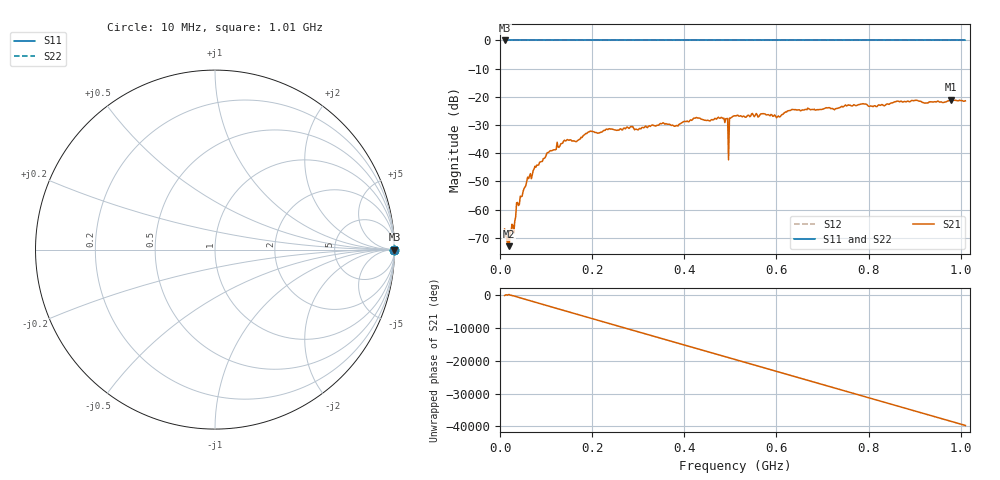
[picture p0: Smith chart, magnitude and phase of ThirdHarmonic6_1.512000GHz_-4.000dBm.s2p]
! 8/16/2025 5:48:28 PM
! C:\ANRITSUVNA\TEMP\TEMP.S2P
! CHANNEL.1
! TR.MEASUREMENT
! RAW.DATA
! RF.CORRECTION.OFF
! AVERAGING.OFF
! IF.BANDWIDTH: 5KHZ
! SWEEPTYPE:  FREQ.SWEEP(Linear)
! Reference Plane Port Info
! PORT:  PORT1  PORT2
! DISTANCE:  0  m  0  m
! TIME:  0  s  0  s
! PHASE.OFFSET:  0  deg.  0  deg.
! LOSS:  0  dB  0  dB
! REF.LOSS:  0  dB  0  dB
! REF.FREQ:  0  Hz  0  Hz
! Power Info
! POWER:  -20  dBm  -20  dBm
! EFF.POWER:  -20  dBm  -20  dBm
! SOURCE.ATTEN:  0  dB  0  dB
! TEST.ATTEN:  0  dB  0  dB
# GHZ S RI R 50.0
! FREQ.GHZ  S11RE  S11IM  S21RE  S21IM  S12RE  S12IM  S22RE  S22IM
!; PortSelection: Port_12
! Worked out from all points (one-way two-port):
!   501 points, 10 MHz to 1.01 GHz, reference 50 ohm
!   highest |S21| = -21.03 dB at 978 MHz (marker M1); lowest = -73.0 dB at 20 MHz (marker M2)
!   lowest |S11| = 0.0 dB at 10 MHz (marker M3)
!   |S11| at or under -10 dB: nowhere
!   |S22| runs from 0.0 to 0.0 dB; largest |S21 - S12| = 1.1
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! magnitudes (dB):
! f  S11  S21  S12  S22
! 10 MHz  0.0  -66.9  0.0  0.0
! 16 MHz  0.0  -71.8  0.0  0.0
! 20 MHz  0.0  -73.0  0.0  0.0
! 30 MHz  0.0  -68.3  0.0  0.0
! 40 MHz  0.0  -58.5  0.0  0.0
! 76 MHz  0.0  -44.6  0.0  0.0
! 142 MHz  0.0  -35.7  0.0  0.0
! 178 MHz  0.0  -34.4  0.0  0.0
! 196 MHz  0.0  -32.1  0.0  0.0
! 344 MHz  0.0  -30.0  0.0  0.0
! 478 MHz  0.0  -27.6  0.0  0.0
! 490 MHz  0.0  -27.8  0.0  0.0
! 492 MHz  0.0  -27.7  0.0  0.0
! 500 MHz  0.0  -27.5  0.0  0.0
! 502 MHz  0.0  -27.4  0.0  0.0
! 510 MHz  0.0  -26.7  0.0  0.0
! 604 MHz  0.0  -26.8  0.0  0.0
! 632 MHz  0.0  -24.6  0.0  0.0
! 678 MHz  0.0  -24.4  0.0  0.0
! 844 MHz  0.0  -22.7  0.0  0.0
! 978 MHz  0.0  -21.0  0.0  0.0
! 1.01 GHz  0.0  -21.4  0.0  0.0
